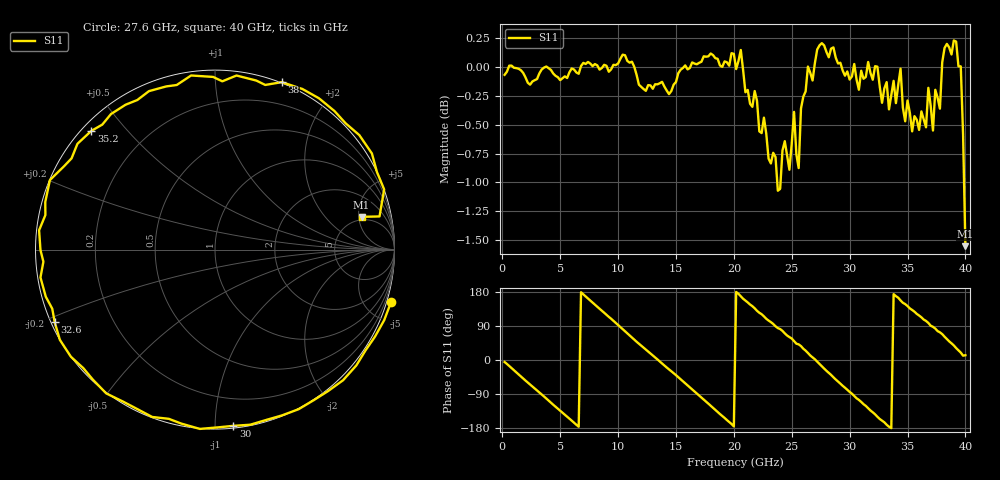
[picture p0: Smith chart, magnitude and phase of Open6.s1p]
# MHz MA S R 50.0
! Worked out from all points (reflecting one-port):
!   200 points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, 200 MHz to 40 GHz, reference 50 ohm
!   lowest |S11| = -1.5 dB at 40 GHz (marker M1), VSWR 11.24, Z = 224 + j272 ohm
!   phase of S11 starts at -5 deg and turns -1062 deg over the sweep
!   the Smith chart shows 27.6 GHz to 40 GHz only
!   S11 on the Smith chart (normalised r, x): 27.6 GHz: -0.56, -6.83; 30 GHz: 0.01, -1.11; 32.6 GHz: 0.01, -0.22; 35.2 GHz: 0.03, +0.40; 38 GHz: -0.01, +1.48; 40 GHz: 4.48, +5.45
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200  0.9919 -5.3
1400  0.9979 -37.9
2800  0.9866 -74.8
3800  1 -101.7
5200  0.9886 -138.9
7400  1.005 162.3
9000  1.001 119.1
10200  1.008 87.3
12800  0.9815 17.3
15200  0.9934 -45.1
17400  1.01 -104.3
18800  1.001 -142.6
20200  0.9976 179.5
22600  0.9506 115.1
25200  0.956 49.7
26400  1 18.6
27600  1.024 -16.6
28800  1.009 -51.4
30000  0.9872 -84.1
30200  0.9903 -88.9
31600  1.005 -127.1
32600  0.9806 -155.6
33800  0.986 173.7
35200  0.9553 136.2
36800  0.9792 97.8
38000  1.004 68.3
39200  1.025 31.5
40000  0.8366 12.6
